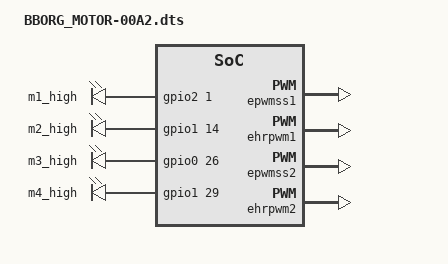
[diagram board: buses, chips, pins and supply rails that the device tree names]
/*
 * Copyright (C) 2018 Robert Nelson <robertcnelson@gmail.com>
 *
 * This program is free software; you can redistribute it and/or modify
 * it under the terms of the GNU General Public License version 2 as
 * published by the Free Software Foundation.
 */

/dts-v1/;
/plugin/;

#include <dt-bindings/gpio/gpio.h>
#include <dt-bindings/pinctrl/am33xx.h>

/ {
	/*
	 * Free up the pins used by the cape from the pinmux helpers.
	 */
	fragment@0 {
		target = <&ocp>;
		__overlay__ {
			P8_13_pinmux { status = "disabled"; };	/* m3.pwm2.b */
			P8_14_pinmux { status = "disabled"; };	/* m3.high */
			P8_16_pinmux { status = "disabled"; };  /* m2.high */
			P8_18_pinmux { status = "disabled"; };	/* m1.high */
			P8_19_pinmux { status = "disabled"; };	/* m4.pwm2.a */
			P8_26_pinmux { status = "disabled"; };  /* m4.high */
			P9_14_pinmux { status = "disabled"; };	/* m2.pwm1.a */
			P9_16_pinmux { status = "disabled"; };	/* m1.pwm1.b */
		};
	};

	fragment@1 {
		target = <&am33xx_pinmux>;
		__overlay__ {
			bborg_motor_led_pins: pinmux-bborg-proto-led-pins {
				pinctrl-single,pins = <
					AM33XX_IOPAD(0x0828, PIN_OUTPUT_PULLUP | INPUT_EN | MUX_MODE7)	/* P8_14: gpmc_ad10.gpio0_26 */
					AM33XX_IOPAD(0x0838, PIN_OUTPUT_PULLUP | INPUT_EN | MUX_MODE7)	/* P8_16: gpmc_ad14.gpio1_14 */
					AM33XX_IOPAD(0x088c, PIN_OUTPUT_PULLUP | INPUT_EN | MUX_MODE7)	/* P8_18: gpmc_clk.gpio2_1 */
					AM33XX_IOPAD(0x087c, PIN_OUTPUT_PULLUP | INPUT_EN | MUX_MODE7)	/* P8_26: gpmc_csn0.gpio1_29 */
				>;
			};

			bborg_motor_ehrpwm1_pins: pinmux-bborg-proto-ehrpwm1-pins {
				pinctrl-single,pins = <
					AM33XX_IOPAD(0x0848, PIN_OUTPUT_PULLDOWN | MUX_MODE6)	/* P9_14: gpmc_a2.ehrpwm1a */
					AM33XX_IOPAD(0x084c, PIN_OUTPUT_PULLDOWN | MUX_MODE6)	/* P9_16: gpmc_a3.ehrpwm1b */
				>;
			};

			bborg_motor_ehrpwm2_pins: pinmux-bborg-proto-ehrpwm2-pins {
				pinctrl-single,pins = <
					AM33XX_IOPAD(0x0824, PIN_OUTPUT_PULLDOWN | MUX_MODE4)	/* P8_13: gpmc_ad9.ehrpwm2b */
					AM33XX_IOPAD(0x0820, PIN_OUTPUT_PULLDOWN | MUX_MODE4)	/* P8_19: gpmc_ad8.ehrpwm2a */
				>;
			};
		};
	};

	fragment@3 {
		target = <&epwmss1>;
		__overlay__ {
			status = "okay";
		};
	};

	fragment@4 {
		target = <&ehrpwm1>;
		__overlay__ {
			pinctrl-names = "default";
			pinctrl-0 = <&bborg_motor_ehrpwm1_pins>;
			status = "okay";
		};
	};

	fragment@5 {
		target = <&epwmss2>;
		__overlay__ {
			status = "okay";
		};
	};

	fragment@6 {
		target = <&ehrpwm2>;
		__overlay__ {
			pinctrl-names = "default";
			pinctrl-0 = <&bborg_motor_ehrpwm2_pins>;
			status = "okay";
		};
	};

	fragment@7 {
		target-path="/";
		__overlay__ {

			leds {
				pinctrl-names = "default";
				pinctrl-0 = <&bborg_motor_led_pins>;
				compatible = "gpio-leds";

				m1_high {
					label = "m1_high";
					gpios = <&gpio2 1 GPIO_ACTIVE_HIGH>;
					default-state = "off";
				};

				m2_high {
					label = "m2_high";
					gpios = <&gpio1 14 GPIO_ACTIVE_HIGH>;
					default-state = "off";
				};

				m3_high {
					label = "m3_high";
					gpios = <&gpio0 26 GPIO_ACTIVE_HIGH>;
					default-state = "off";
				};

				m4_high {
					label = "m4_high";
					gpios = <&gpio1 29 GPIO_ACTIVE_HIGH>;
					default-state = "off";
				};
			};
		};
	};
};
